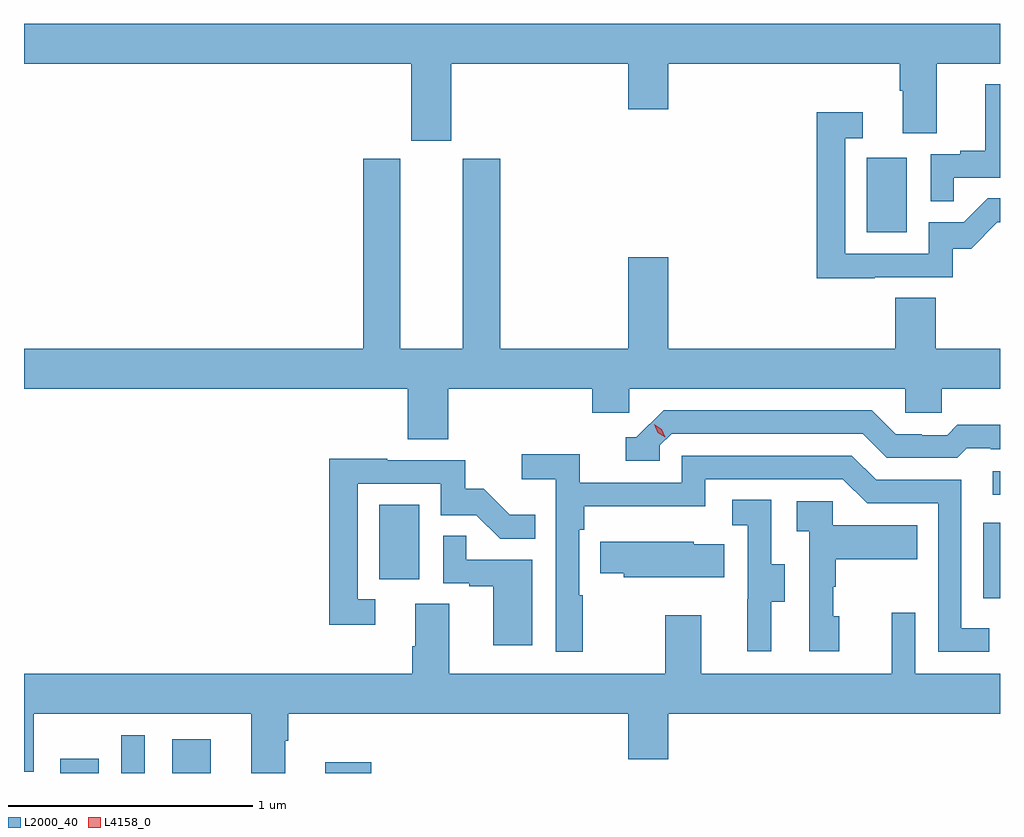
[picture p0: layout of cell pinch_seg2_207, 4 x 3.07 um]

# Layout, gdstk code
import gdstk
lib = gdstk.Library(unit=1e-6, precision=1e-09)
def R(c, l, rs):  # rectangles x0, y0, x1, y1
    for r in rs: c.add(gdstk.rectangle(r[:2], r[2:], *l))
def P(c, l, *ps):  # polygons
    for p in ps: c.add(gdstk.Polygon(p, *l))
L2000_40 = (2000, 40)
L4158_0 = (4158, 0)

pinch_seg2_207 = lib.new_cell('pinch_seg2_207')
R(pinch_seg2_207, L2000_40, [(953.888,648.723,954.046,648.784), (954.138,648.723,954.234,648.88), (954.347,648.723,954.505,648.862), (954.975,648.723,955.163,648.769), (957.672,649.44,957.74,649.75), (955.196,649.518,955.36,649.825), (957.711,649.866,957.74,649.962), (957.194,650.94,957.358,651.247)])
P(pinch_seg2_207, L2000_40, [(953.74,651.632),(955.328,651.632),(955.328,651.315),(955.492,651.315),(955.492,651.632),(956.216,651.632),(956.216,651.444),(956.38,651.444),(956.38,651.632),(957.329,651.632),(957.329,651.52),(957.341,651.52),(957.341,651.346),(957.481,651.346),(957.481,651.632),(957.74,651.632),(957.74,651.796),(953.74,651.796)],
  [(957.551,651.165),(957.74,651.165),(957.74,651.547),(957.68,651.547),(957.68,651.274),(957.577,651.274),(957.577,651.261),(957.456,651.261),(957.456,651.067),(957.551,651.067)],
  [(957.227,650.757),(957.546,650.757),(957.546,650.874),(957.622,650.874),(957.729,650.981),(957.74,650.981),(957.74,651.08),(957.69,651.08),(957.592,650.982),(957.447,650.982),(957.447,650.853),(957.105,650.853),(957.105,651.327),(957.178,651.327),(957.178,651.433),(956.989,651.433),(956.989,650.752),(957.227,650.752)],
  [(955.478,650.3),(956.069,650.3),(956.069,650.202),(956.22,650.202),(956.22,650.3),(957.351,650.3),(957.351,650.202),(957.501,650.202),(957.501,650.3),(957.74,650.3),(957.74,650.464),(957.476,650.464),(957.476,650.672),(957.311,650.672),(957.311,650.464),(956.38,650.464),(956.38,650.839),(956.216,650.839),(956.216,650.464),(955.691,650.464),(955.691,651.243),(955.538,651.243),(955.538,650.464),(955.282,650.464),(955.282,651.243),(955.13,651.243),(955.13,650.464),(953.74,650.464),(953.74,650.3),(955.313,650.3),(955.313,650.092),(955.478,650.092)],
  [(956.346,650.067),(956.394,650.115),(957.177,650.115),(957.276,650.016),(957.565,650.016),(957.604,650.055),(957.703,650.055),(957.703,650.052),(957.74,650.052),(957.74,650.152),(957.565,650.152),(957.523,650.109),(957.42,650.109),(957.42,650.112),(957.313,650.112),(957.214,650.211),(956.361,650.211),(956.25,650.1),(956.207,650.1),(956.207,650.004),(956.346,650.004)],
  [(956.029,649.454),(956.016,649.454),(956.016,649.721),(956.036,649.721),(956.036,649.817),(956.532,649.817),(956.532,649.929),(957.096,649.929),(957.195,649.83),(957.486,649.83),(957.486,649.221),(957.695,649.221),(957.695,649.317),(957.582,649.317),(957.582,649.926),(957.232,649.926),(957.133,650.025),(956.436,650.025),(956.436,649.914),(956.018,649.914),(956.018,650.03),(955.779,650.03),(955.779,649.928),(955.92,649.928),(955.92,649.221),(956.029,649.221)],
  [(955.18,649.437),(955.107,649.437),(955.107,649.911),(955.449,649.911),(955.449,649.782),(955.593,649.782),(955.691,649.684),(955.835,649.684),(955.835,649.783),(955.731,649.783),(955.624,649.89),(955.548,649.89),(955.548,650.007),(955.229,650.007),(955.229,650.012),(954.991,650.012),(954.991,649.332),(955.18,649.332)],
  [(956.803,649.426),(956.857,649.426),(956.857,649.581),(956.802,649.581),(956.802,649.844),(956.643,649.844),(956.643,649.741),(956.706,649.741),(956.706,649.437),(956.705,649.437),(956.705,649.224),(956.803,649.224)],
  [(957.082,649.368),(957.057,649.368),(957.057,649.487),(957.067,649.487),(957.067,649.601),(957.401,649.601),(957.401,649.741),(957.054,649.741),(957.054,649.839),(956.907,649.839),(956.907,649.715),(956.958,649.715),(956.958,649.224),(957.082,649.224)],
  [(955.822,649.599),(955.553,649.599),(955.553,649.697),(955.458,649.697),(955.458,649.503),(955.565,649.503),(955.565,649.491),(955.664,649.491),(955.664,649.248),(955.822,649.248)],
  [(956.609,649.663),(956.484,649.663),(956.484,649.672),(956.101,649.672),(956.101,649.543),(956.199,649.543),(956.199,649.526),(956.609,649.526)],
  [(954.811,648.856),(954.824,648.856),(954.824,648.968),(956.216,648.968),(956.216,648.78),(956.38,648.78),(956.38,648.968),(957.74,648.968),(957.74,649.132),(957.393,649.132),(957.393,649.381),(957.296,649.381),(957.296,649.132),(956.515,649.132),(956.515,649.372),(956.368,649.372),(956.368,649.132),(955.483,649.132),(955.483,649.418),(955.343,649.418),(955.343,649.244),(955.331,649.244),(955.331,649.132),(953.74,649.132),(953.74,648.729),(953.779,648.729),(953.779,648.968),(954.671,648.968),(954.671,648.723),(954.811,648.723)])
P(pinch_seg2_207, L4158_0, [(956.369,650.1),(956.338,650.12),(956.323,650.153),(956.323,650.153),(956.323,650.153),(956.353,650.133),(956.369,650.101),(956.369,650.1)])

lib.write_gds('pinch_seg2_207.gds')
